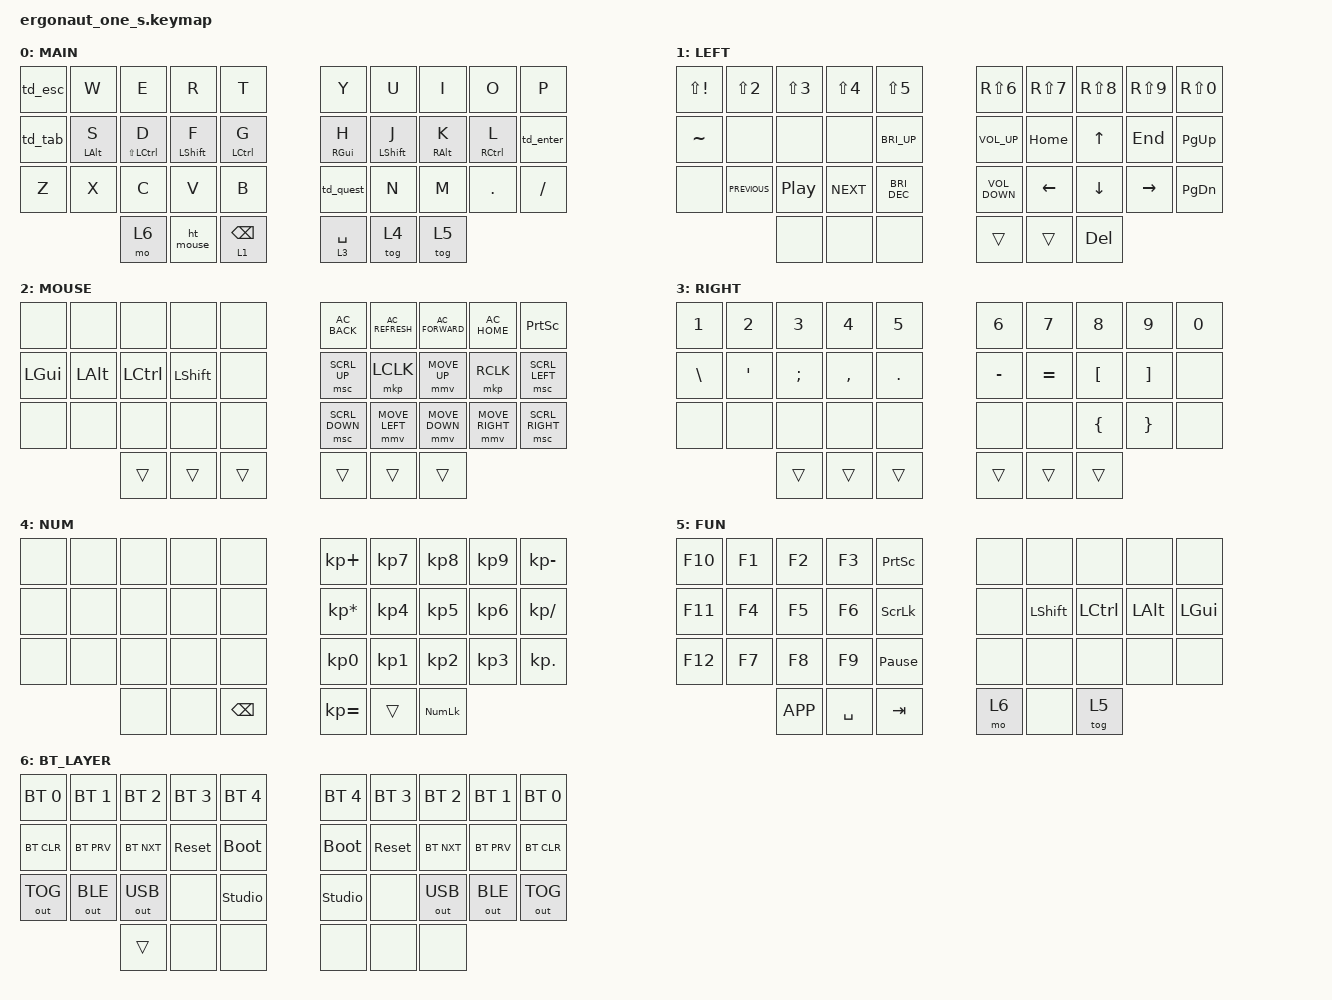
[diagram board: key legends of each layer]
#define ZMK_POINTING_DEFAULT_MOVE_VAL 1300  // default: 600
#define ZMK_POINTING_DEFAULT_SCRL_VAL 20    // default: 10

#include <behaviors.dtsi>
#include <dt-bindings/zmk/bt.h>
#include <dt-bindings/zmk/keys.h>
#include <dt-bindings/zmk/outputs.h>
#include <dt-bindings/zmk/pointing.h>

#define BASE 0
#define NAV 1
#define MOUSE 2
#define MEDIA 3
#define NUM 4
#define SYM 5
#define FUN 6
#define ADJ 7

/ {
    behaviors {
        hm: homerow_mods {
            compatible = "zmk,behavior-hold-tap";
            label = "HOMEROW_MODS";
            #binding-cells = <2>;
            tapping-term-ms = <180>;
            flavor = "balanced";
            bindings = <&kp>, <&kp>;

            require-prior-idle-ms = <130>;
        };

        td_enter: td_enter {
            compatible = "zmk,behavior-tap-dance";
            label = "TD_ENTER";
            #binding-cells = <0>;
            bindings = <&kp APOS>, <&kp RETURN>;
        };

        td_tab: td_tab {
            compatible = "zmk,behavior-tap-dance";
            label = "TD_TAB";
            #binding-cells = <0>;
            bindings = <&kp A>, <&kp TAB>, <&kp CAPS>;
        };

        td_esc: td_esc {
            compatible = "zmk,behavior-tap-dance";
            label = "TD_ESC";
            #binding-cells = <0>;
            bindings = <&kp Q>, <&kp ESCAPE>;
        };

        ht_mouse: ht_mouse {
            compatible = "zmk,behavior-tap-dance";
            label = "HT_MOUSE";
            #binding-cells = <0>;
            bindings = <&mo 2>, <&tog 2>;
        };

        td_quest: td_quest {
            compatible = "zmk,behavior-tap-dance";
            label = "TD_QUEST";
            #binding-cells = <0>;
            bindings = <&kp COMMA>, <&kp QUESTION>;

            tapping-term-ms = <180>;
        };
    };

    keymap {
        compatible = "zmk,keymap";

        default_layer {
            display-name = "MAIN";
            bindings = <
&td_esc  &kp W       &kp E            &kp R        &kp T        &kp Y            &kp U        &kp I            &kp O                &kp P
&td_tab  &hm LALT S  &hm LS(LCTRL) D  &hm LSHFT F  &hm LCTRL G  &hm RIGHT_GUI H  &hm LSHFT J  &hm RIGHT_ALT K  &hm RIGHT_CONTROL L  &td_enter
&kp Z    &kp X       &kp C            &kp V        &kp B        &td_quest        &kp N        &kp M            &kp DOT              &kp FSLH
                                      &mo 6        &ht_mouse    &lt 1 BACKSPACE  &lt 3 SPACE  &tog 4           &tog 5
            >;
        };

        nav_layer {
            display-name = "LEFT";
            bindings = <
&kp LS(EXCLAMATION)  &kp LS(NUMBER_2)  &kp LS(NUMBER_3)  &kp LS(NUMBER_4)  &kp LS(N5)            &kp RS(NUMBER_6)   &kp RS(N7)  &kp RS(N8)      &kp RS(N9)  &kp RS(N0)
&kp TILDE            &none             &none             &none             &kp C_BRI_UP          &kp C_VOLUME_UP    &kp HOME    &kp UP_ARROW    &kp END     &kp PAGE_UP
&none                &kp C_PREVIOUS    &kp C_PLAY_PAUSE  &kp C_NEXT        &kp C_BRIGHTNESS_DEC  &kp C_VOLUME_DOWN  &kp LEFT    &kp DOWN_ARROW  &kp RIGHT   &kp PAGE_DOWN
                                                         &none             &none                 &none              &trans      &trans          &kp DEL
            >;
        };

        mouse_layer {
            display-name = "MOUSE";
            bindings = <
&none     &none     &none      &none      &none   &kp C_AC_BACK   &kp C_AC_REFRESH  &kp C_AC_FORWARD  &kp C_AC_HOME    &kp PRINTSCREEN
&kp LGUI  &kp LALT  &kp LCTRL  &kp LSHFT  &none   &msc SCRL_UP    &mkp LCLK         &mmv MOVE_UP      &mkp RCLK        &msc SCRL_LEFT
&none     &none     &none      &none      &none   &msc SCRL_DOWN  &mmv MOVE_LEFT    &mmv MOVE_DOWN    &mmv MOVE_RIGHT  &msc SCRL_RIGHT
                               &trans     &trans  &trans          &trans            &trans            &trans
            >;
        };

        num_row {
            display-name = "RIGHT";
            bindings = <
&kp NUMBER_1   &kp NUMBER_2  &kp NUMBER_3  &kp NUMBER_4  &kp N5      &kp NUMBER_6  &kp N7     &kp N8            &kp N9             &kp N0
&kp BACKSLASH  &kp APOS      &kp SEMI      &kp COMMA     &kp PERIOD  &kp MINUS     &kp EQUAL  &kp LEFT_BRACKET  &kp RIGHT_BRACKET  &none
&none          &none         &none         &none         &none       &none         &none      &kp LEFT_BRACE    &kp RIGHT_BRACE    &none
                                           &trans        &trans      &trans        &trans     &trans            &trans
            >;
        };

        key_pad {
            display-name = "NUM";
            bindings = <
&none  &none  &none  &none  &none  &kp KP_PLUS      &kp KP_NUMBER_7  &kp KP_NUMBER_8  &kp KP_NUMBER_9  &kp KP_MINUS
&none  &none  &none  &none  &none  &kp KP_MULTIPLY  &kp KP_NUMBER_4  &kp KP_NUMBER_5  &kp KP_NUMBER_6  &kp KP_DIVIDE
&none  &none  &none  &none  &none  &kp KP_N0        &kp KP_N1        &kp KP_NUMBER_2  &kp KP_NUMBER_3  &kp KP_DOT
                     &none  &none  &kp BACKSPACE    &kp KP_EQUAL     &trans           &kp KP_NUMLOCK
            >;
        };

        fun_layer {
            display-name = "FUN";
            bindings = <
&kp F10  &kp F1  &kp F2  &kp F3     &kp PSCRN        &none    &none      &none      &none     &none
&kp F11  &kp F4  &kp F5  &kp F6     &kp SLCK         &none    &kp LSHFT  &kp LCTRL  &kp LALT  &kp LGUI
&kp F12  &kp F7  &kp F8  &kp F9     &kp PAUSE_BREAK  &none    &none      &none      &none     &none
                         &kp K_APP  &kp SPACE        &kp TAB  &mo 6      &none      &tog 5
            >;
        };

        adj_layer {
            display-name = "BT_LAYER";
            bindings = <
&bt BT_SEL 0  &bt BT_SEL 1  &bt BT_SEL 2  &bt BT_SEL 3  &bt BT_SEL 4    &bt BT_SEL 4    &bt BT_SEL 3  &bt BT_SEL 2  &bt BT_SEL 1  &bt BT_SEL 0
&bt BT_CLR    &bt BT_PRV    &bt BT_NXT    &sys_reset    &bootloader     &bootloader     &sys_reset    &bt BT_NXT    &bt BT_PRV    &bt BT_CLR
&out OUT_TOG  &out OUT_BLE  &out OUT_USB  &none         &studio_unlock  &studio_unlock  &none         &out OUT_USB  &out OUT_BLE  &out OUT_TOG
                                          &trans        &none           &none           &none         &none         &none
            >;
        };
    };
};
